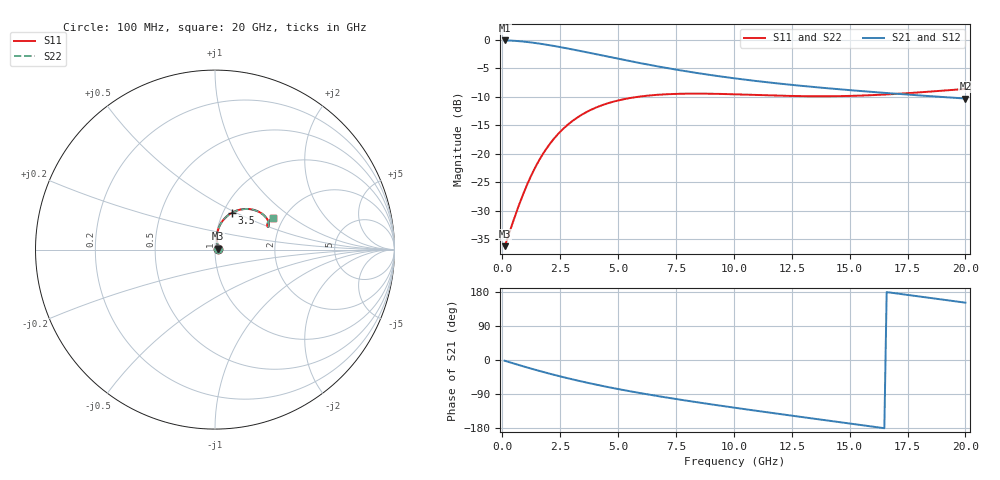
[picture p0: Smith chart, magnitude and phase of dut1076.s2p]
! Touchstone file exported from HFSS 2024.1.0
!  File:  C:/UserFiles/LocalFiles/RDL_TSV_Batchsim/temp_RDL_TSV_1076_1780094355.aedt
!  Generated:  07:01:09 AM May 30, 2026
!  Design:  RDL_TSV
!  Project:  temp_RDL_TSV_1076_1780094355
!  Setup:  Setup1
!  Solution:  Sweep
! Variables:
!  dtsv = 8.02um
!  hbump = 3um
!  htsv = 98.84um
!  ldown = 454.55um
!  lrdl = 339.62um
!  p = 40
!  p1 = 58.77um
!  rhole = 10um
!  subl = 2722.13um
!  t = 450um
!  tdown = 4.48um
!  trdl = 4.28um
!  viad = 10um
!  wdown = 15.2um
!  wrdl = 17.3um
!  xbump = 18um
# GHz S MA R 50.000000
! Terminal data exported
! Port[1] = TM1_1_T1
! Port[2] = TM1_4_T1
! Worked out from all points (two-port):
!   200 points, 100 MHz to 20 GHz, reference 50 ohm
!   highest |S21| = -0.13 dB at 100 MHz (marker M1); lowest = -10.3 dB at 20 GHz (marker M2)
!   |S21| within 3 dB of the highest: start of sweep to 4.755 GHz
!   lowest |S11| = -36.2 dB at 100 MHz (marker M3), VSWR 1.03, Z = 51.5 + j0.487 ohm
!   |S11| at or under -10 dB: start of sweep to 5.882 GHz
!   |S22| runs from -36.2 to -8.6 dB; largest |S21 - S12| = 5.6e-11
!   S11 on the Smith chart (normalised r, x): 100 MHz: 1.03, +0.01; 3.5 GHz: 1.10, +0.47; 20 GHz: 1.78, +0.72
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0.1  0.01548 17.8  0.9849 -1.9  0.9849 -1.9  0.01548 17.8
! Gamma 0 0 0 0
! Port Impedance 50 0 50 0
0.5  0.02661 57.5  0.9787 -9.3  0.9787 -9.3  0.02661 57.5
0.8  0.03917 71.5  0.968 -14.8  0.968 -14.8  0.03916 71.5
1  0.04955 77.0  0.959 -18.4  0.959 -18.4  0.04953 76.9
1.3  0.06774 81.1  0.943 -23.7  0.943 -23.7  0.06769 81.1
1.7  0.09559 82.1  0.9182 -30.5  0.9182 -30.5  0.09549 82.0
2.1  0.1256 80.1  0.8908 -37.0  0.8908 -37.0  0.1254 80.0
2.5  0.1558 76.5  0.8617 -43.2  0.8617 -43.2  0.1556 76.5
3  0.1918 71.3  0.8242 -50.7  0.8242 -50.7  0.1916 71.2
3.5  0.2241 65.7  0.7866 -57.7  0.7866 -57.7  0.2238 65.7
4.2  0.2615 58.2  0.7355 -66.9  0.7355 -66.9  0.2612 58.2
5.1  0.2964 49.6  0.6748 -77.8  0.6748 -77.8  0.296 49.6
5.9  0.3166 43.2  0.6265 -86.7  0.6265 -86.7  0.3162 43.2
6.8  0.3298 37.2  0.5791 -96.1  0.5791 -96.1  0.3294 37.2
8.3  0.3368 30.0  0.5146 -110.5  0.5146 -110.5  0.3364 30.0
10.1  0.3319 25.0  0.4566 -126.5  0.4566 -126.5  0.3315 25.0
11.7  0.3242 23.4  0.4178 -140.2  0.4178 -140.2  0.3239 23.3
13.4  0.3193 23.8  0.3857 -154.4  0.3857 -154.4  0.319 23.7
15  0.3214 25.3  0.3613 -167.6  0.3613 -167.6  0.3211 25.2
16.7  0.3321 27.1  0.3395 178.4  0.3395 178.4  0.3317 27.1
18.3  0.3487 28.2  0.3218 165.2  0.3218 165.2  0.3482 28.1
20  0.3701 28.3  0.305 151.3  0.305 151.3  0.3696 28.3
